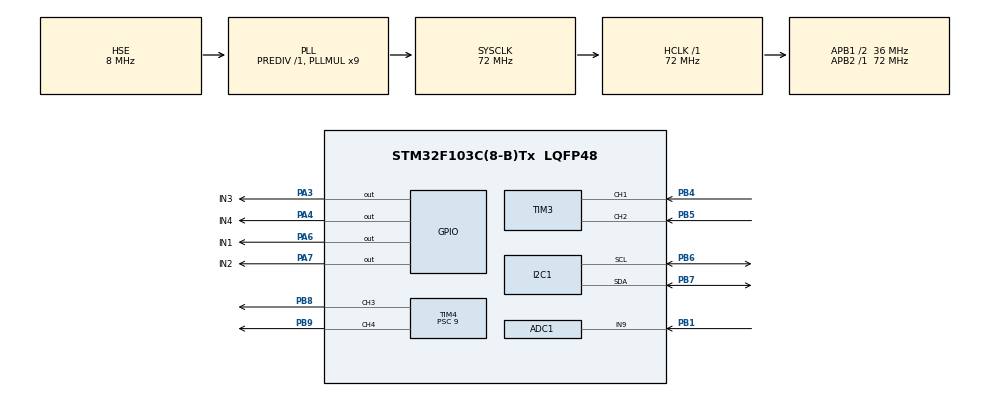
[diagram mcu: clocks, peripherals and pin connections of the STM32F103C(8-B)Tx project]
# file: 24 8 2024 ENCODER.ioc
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ADC1.Channel-0\#ChannelRegularConversion=ADC_CHANNEL_9
ADC1.NbrOfConversionFlag=1
ADC1.Rank-0\#ChannelRegularConversion=1
ADC1.SamplingTime-0\#ChannelRegularConversion=ADC_SAMPLETIME_1CYCLE_5
ADC1.master=1
Mcu.Family=STM32F1
Mcu.Name=STM32F103C(8-B)Tx
Mcu.Package=LQFP48
NVIC.PriorityGroup=NVIC_PRIORITYGROUP_4
NVIC.TIM2_IRQn=true\:0\:0\:false\:false\:true\:true\:true\:true
NVIC.TIM3_IRQn=true\:0\:0\:false\:false\:true\:true\:true\:true
PA13.Mode=Serial_Wire
PA13.Signal=SYS_JTMS-SWDIO
PA14.Mode=Serial_Wire
PA14.Signal=SYS_JTCK-SWCLK
PA3.GPIO_Label=IN3
PA3.Signal=GPIO_Output
PA4.GPIO_Label=IN4
PA4.Signal=GPIO_Output
PA6.GPIO_Label=IN1
PA6.Signal=GPIO_Output
PA7.GPIO_Label=IN2
PA7.Signal=GPIO_Output
PB1.Signal=ADCx_IN9
PB4.GPIO_PuPd=GPIO_PULLUP
PB4.Signal=S_TIM3_CH1
PB5.GPIO_PuPd=GPIO_PULLUP
PB5.Signal=S_TIM3_CH2
PB6.Mode=I2C
PB6.Signal=I2C1_SCL
PB7.Mode=I2C
PB7.Signal=I2C1_SDA
PB8.Signal=S_TIM4_CH3
PB9.Signal=S_TIM4_CH4
PD0-OSC_IN.Mode=HSE-External-Oscillator
PD0-OSC_IN.Signal=RCC_OSC_IN
PD1-OSC_OUT.Mode=HSE-External-Oscillator
PD1-OSC_OUT.Signal=RCC_OSC_OUT
ProjectManager.HeapSize=0x200
ProjectManager.StackSize=0x400
ProjectManager.TargetToolchain=MDK-ARM V5
RCC.ADCPresc=RCC_ADCPCLK2_DIV6
RCC.AHBFreq_Value=72000000
RCC.APB1CLKDivider=RCC_HCLK_DIV2
RCC.APB1Freq_Value=36000000
RCC.APB1TimFreq_Value=72000000
RCC.APB2Freq_Value=72000000
RCC.APB2TimFreq_Value=72000000
RCC.HCLKFreq_Value=72000000
RCC.PLLMUL=RCC_PLL_MUL9
RCC.PLLSourceVirtual=RCC_PLLSOURCE_HSE
RCC.SYSCLKFreq_VALUE=72000000
RCC.SYSCLKSource=RCC_SYSCLKSOURCE_PLLCLK
RCC.USBFreq_Value=72000000
SH.ADCx_IN9.0=ADC1_IN9,IN9
SH.S_TIM3_CH1.0=TIM3_CH1,Encoder_Interface
SH.S_TIM3_CH2.0=TIM3_CH2,Encoder_Interface
SH.S_TIM4_CH3.0=TIM4_CH3,PWM Generation3 CH3
SH.S_TIM4_CH4.0=TIM4_CH4,PWM Generation4 CH4
TIM2.Period=3999
TIM2.Prescaler=179
TIM3.EncoderMode=TIM_ENCODERMODE_TI12
TIM4.Channel-PWM\ Generation3\ CH3=TIM_CHANNEL_3
TIM4.Channel-PWM\ Generation4\ CH4=TIM_CHANNEL_4
TIM4.Period=1799
TIM4.Prescaler=9
VP_TIM2_VS_ClockSourceINT.Mode=Internal
board=custom

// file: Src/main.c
/* USER CODE BEGIN Header */
/**
  ******************************************************************************
  * @file           : main.c
  * @brief          : Main program body
  ******************************************************************************
  * @attention
  *
  * Copyright (c) 2024 STMicroelectronics.
  * All rights reserved.
  *
  * This software is licensed under terms that can be found in the LICENSE file
  * in the root directory of this software component.
  * If no LICENSE file comes with this software, it is provided AS-IS.
  *
  ******************************************************************************
  */
/* USER CODE END Header */
#include "main.h"

/* USER CODE BEGIN Includes */
#include "stdio.h"
#include "string.h"
#include "i2c-lcd.h"

/* USER CODE END Includes */

ADC_HandleTypeDef hadc1;

I2C_HandleTypeDef hi2c1;

TIM_HandleTypeDef htim2;
TIM_HandleTypeDef htim3;
TIM_HandleTypeDef htim4;

void SystemClock_Config(void);
static void MX_GPIO_Init(void);
static void MX_ADC1_Init(void);
static void MX_TIM2_Init(void);
static void MX_TIM4_Init(void);
static void MX_I2C1_Init(void);
static void MX_TIM3_Init(void);

/* USER CODE BEGIN 0 */
uint16_t	readPOT[1];
int processPOT;
int valuePOT;
int valuePWM;
int valuePWMnew;
int DIR=1;

void Forward(){
		HAL_GPIO_WritePin(IN1_GPIO_Port, IN1_Pin, 0);
		HAL_GPIO_WritePin(IN2_GPIO_Port, IN2_Pin, 1);
		HAL_GPIO_WritePin(IN3_GPIO_Port, IN3_Pin, 0);
		HAL_GPIO_WritePin(IN4_GPIO_Port, IN4_Pin, 1);
}
void Back(){
		HAL_GPIO_WritePin(IN1_GPIO_Port, IN1_Pin, 1);
		HAL_GPIO_WritePin(IN2_GPIO_Port, IN2_Pin, 0);
		HAL_GPIO_WritePin(IN3_GPIO_Port, IN3_Pin, 1);
		HAL_GPIO_WritePin(IN4_GPIO_Port, IN4_Pin, 0);
}
void Stop(){
		HAL_GPIO_WritePin(IN1_GPIO_Port, IN1_Pin, 0);
		HAL_GPIO_WritePin(IN2_GPIO_Port, IN2_Pin, 0);
		HAL_GPIO_WritePin(IN3_GPIO_Port, IN3_Pin, 0);
		HAL_GPIO_WritePin(IN4_GPIO_Port, IN4_Pin, 0);
}

void PWMMOTOR(){
	if(DIR > 0){
		__HAL_TIM_SetCompare(&htim4,TIM_CHANNEL_3, valuePWM);
		__HAL_TIM_SetCompare(&htim4,TIM_CHANNEL_4, valuePWM);
		Back();
	}
	if(DIR < 0){
		__HAL_TIM_SetCompare(&htim4,TIM_CHANNEL_3, valuePWM);
		__HAL_TIM_SetCompare(&htim4,TIM_CHANNEL_4, valuePWM);
		Forward();

	}
	if(valuePWM == 0){
		__HAL_TIM_SetCompare(&htim4,TIM_CHANNEL_3, 0);
		__HAL_TIM_SetCompare(&htim4,TIM_CHANNEL_4, 0);
		Stop();
	}
}

//volatile short eL;
//volatile short eR;
//void HAL_GPIO_EXTI_Callback(uint16_t GPIO_Pin) {
//	 if (GPIO_Pin == GPIO_PIN_4) {
//			if (HAL_GPIO_ReadPin(GPIOB, GPIO_PIN_5) == 0) {
//					eL++;
//			} else {
//					eL--;
//			}
//    }
//
//	 if (GPIO_Pin == GPIO_PIN_8) {
//			if (HAL_GPIO_ReadPin(GPIOA, GPIO_PIN_9) == 0) {
//					eR--;
//			} else {
//					eR++;
//			}
//    }
//}

volatile short encoder;

int taget=0;
int err=0;
int valueL=0;
int cnt=0;
int valueE=0;
int valueEXP=0;
float k=2.25;
int output=0;

void HAL_TIM_PeriodElapsedCallback(TIM_HandleTypeDef *htim){
		cnt= taget*936/360;
		encoder=__HAL_TIM_GetCounter(&htim3);
		err = cnt-encoder;
		output = k*err;
		valuePWM = output*1799/936;

		if(valuePWM >= 1799){
			valuePWM = 1799;
		}
		if(valuePWM <= -1799){
			valuePWM= -1799;
		}
//		HAL_ADC_Start_DMA(&hadc1,(uint32_t*)readPOT,1);
//		HAL_ADC_Stop_DMA(&hadc1);
//		processPOT = readPOT[0];

//		valuePOT = processPOT*999/4095;
//		valuePWM = valuePOT*2-999;

		if(valuePWM <0){
 			valuePWM = valuePWM*(-1);
			DIR = -1;
		}
		else if(valuePWM >0){
 			valuePWM = valuePWM*1;
			DIR = 1;
		}
		__HAL_TIM_SetCompare(&htim4,TIM_CHANNEL_3, valuePWM);
		PWMMOTOR();

}
void lcd(){
		lcd_clear();
		lcd_put_cur(0,0);
		lcd_send_string("Deg:");
		lcd_send_number((int)taget);

		lcd_put_cur(0,8);
		lcd_send_string("Err:");
		lcd_send_number((int)err);

		lcd_put_cur(1,0);
		lcd_send_string("Dir:");
		lcd_send_number((int)DIR);

		lcd_put_cur(1,8);
		lcd_send_string("Pwm:");
		lcd_send_number((int)valuePWM);
}

/* USER CODE END 0 */

int main(void)
{

  /* MCU Configuration--------------------------------------------------------*/

  /* Reset of all peripherals, Initializes the Flash interface and the Systick. */
  HAL_Init();

  /* Configure the system clock */
  SystemClock_Config();

  /* Initialize all configured peripherals */
  MX_GPIO_Init();
  MX_ADC1_Init();
  MX_TIM2_Init();
  MX_TIM4_Init();
  MX_I2C1_Init();
  MX_TIM3_Init();
  /* USER CODE BEGIN 2 */
	HAL_TIM_PWM_Start(&htim4,TIM_CHANNEL_3);
	HAL_TIM_PWM_Start(&htim4,TIM_CHANNEL_4);
	HAL_TIM_Encoder_Start(&htim3,TIM_CHANNEL_1);
	HAL_TIM_Encoder_Start(&htim3,TIM_CHANNEL_2);
//	HAL_TIM_Encoder_Start(&htim1,TIM_CHANNEL_1);
//	HAL_TIM_Encoder_Start(&htim1,TIM_CHANNEL_2);
	HAL_TIM_Base_Start_IT(&htim2);
	lcd_init();
	lcd_put_cur(0,3);
	lcd_send_string("DA2 - N2A");
	lcd_put_cur(1,3);
	lcd_send_string("DH CDT17A");
	HAL_Delay(1000);

  /* USER CODE END 2 */

  /* Infinite loop */
  while (1)
  {

    /* USER CODE BEGIN 3 */
		taget=0;
		lcd();
		HAL_Delay(1500);

		taget += 90;
		lcd();
		HAL_Delay(1500);
		taget += 90;
		lcd();
		HAL_Delay(1500);
		taget += 90;
		lcd();
		HAL_Delay(1500);
		taget += 90;
		lcd();
		HAL_Delay(1500);

		taget -= 90;
		lcd();
		HAL_Delay(1500);
		taget -= 90;
		lcd();
		HAL_Delay(1500);
		taget -= 90;
		lcd();
		HAL_Delay(1500);
		taget -= 90;
		lcd();

  }
  /* USER CODE END 3 */
}

void SystemClock_Config(void)
{
  RCC_OscInitTypeDef RCC_OscInitStruct = {0};
  RCC_ClkInitTypeDef RCC_ClkInitStruct = {0};
  RCC_PeriphCLKInitTypeDef PeriphClkInit = {0};

  /** Initializes the RCC Oscillators according to the specified parameters
  * in the RCC_OscInitTypeDef structure.
  */
  RCC_OscInitStruct.OscillatorType = RCC_OSCILLATORTYPE_HSE;
  RCC_OscInitStruct.HSEState = RCC_HSE_ON;
  RCC_OscInitStruct.HSEPredivValue = RCC_HSE_PREDIV_DIV1;
  RCC_OscInitStruct.HSIState = RCC_HSI_ON;
  RCC_OscInitStruct.PLL.PLLState = RCC_PLL_ON;
  RCC_OscInitStruct.PLL.PLLSource = RCC_PLLSOURCE_HSE;
  RCC_OscInitStruct.PLL.PLLMUL = RCC_PLL_MUL9;
  if (HAL_RCC_OscConfig(&RCC_OscInitStruct) != HAL_OK)
  {
    Error_Handler();
  }

  /** Initializes the CPU, AHB and APB buses clocks
  */
  RCC_ClkInitStruct.ClockType = RCC_CLOCKTYPE_HCLK|RCC_CLOCKTYPE_SYSCLK
                              |RCC_CLOCKTYPE_PCLK1|RCC_CLOCKTYPE_PCLK2;
  RCC_ClkInitStruct.SYSCLKSource = RCC_SYSCLKSOURCE_PLLCLK;
  RCC_ClkInitStruct.AHBCLKDivider = RCC_SYSCLK_DIV1;
  RCC_ClkInitStruct.APB1CLKDivider = RCC_HCLK_DIV2;
  RCC_ClkInitStruct.APB2CLKDivider = RCC_HCLK_DIV1;

  if (HAL_RCC_ClockConfig(&RCC_ClkInitStruct, FLASH_LATENCY_2) != HAL_OK)
  {
    Error_Handler();
  }
  PeriphClkInit.PeriphClockSelection = RCC_PERIPHCLK_ADC;
  PeriphClkInit.AdcClockSelection = RCC_ADCPCLK2_DIV6;
  if (HAL_RCCEx_PeriphCLKConfig(&PeriphClkInit) != HAL_OK)
  {
    Error_Handler();
  }
}

static void MX_ADC1_Init(void)
{

  ADC_ChannelConfTypeDef sConfig = {0};

  /** Common config
  */
  hadc1.Instance = ADC1;
  hadc1.Init.ScanConvMode = ADC_SCAN_DISABLE;
  hadc1.Init.ContinuousConvMode = DISABLE;
  hadc1.Init.DiscontinuousConvMode = DISABLE;
  hadc1.Init.ExternalTrigConv = ADC_SOFTWARE_START;
  hadc1.Init.DataAlign = ADC_DATAALIGN_RIGHT;
  hadc1.Init.NbrOfConversion = 1;
  if (HAL_ADC_Init(&hadc1) != HAL_OK)
  {
    Error_Handler();
  }

  /** Configure Regular Channel
  */
  sConfig.Channel = ADC_CHANNEL_9;
  sConfig.Rank = ADC_REGULAR_RANK_1;
  sConfig.SamplingTime = ADC_SAMPLETIME_1CYCLE_5;
  if (HAL_ADC_ConfigChannel(&hadc1, &sConfig) != HAL_OK)
  {
    Error_Handler();
  }

}

static void MX_I2C1_Init(void)
{

  hi2c1.Instance = I2C1;
  hi2c1.Init.ClockSpeed = 100000;
  hi2c1.Init.DutyCycle = I2C_DUTYCYCLE_2;
  hi2c1.Init.OwnAddress1 = 0;
  hi2c1.Init.AddressingMode = I2C_ADDRESSINGMODE_7BIT;
  hi2c1.Init.DualAddressMode = I2C_DUALADDRESS_DISABLE;
  hi2c1.Init.OwnAddress2 = 0;
  hi2c1.Init.GeneralCallMode = I2C_GENERALCALL_DISABLE;
  hi2c1.Init.NoStretchMode = I2C_NOSTRETCH_DISABLE;
  if (HAL_I2C_Init(&hi2c1) != HAL_OK)
  {
    Error_Handler();
  }

}

static void MX_TIM2_Init(void)
{

  TIM_ClockConfigTypeDef sClockSourceConfig = {0};
  TIM_MasterConfigTypeDef sMasterConfig = {0};

  htim2.Instance = TIM2;
  htim2.Init.Prescaler = 179;
  htim2.Init.CounterMode = TIM_COUNTERMODE_UP;
  htim2.Init.Period = 3999;
  htim2.Init.ClockDivision = TIM_CLOCKDIVISION_DIV1;
  htim2.Init.AutoReloadPreload = TIM_AUTORELOAD_PRELOAD_DISABLE;
  if (HAL_TIM_Base_Init(&htim2) != HAL_OK)
  {
    Error_Handler();
  }
  sClockSourceConfig.ClockSource = TIM_CLOCKSOURCE_INTERNAL;
  if (HAL_TIM_ConfigClockSource(&htim2, &sClockSourceConfig) != HAL_OK)
  {
    Error_Handler();
  }
  sMasterConfig.MasterOutputTrigger = TIM_TRGO_RESET;
  sMasterConfig.MasterSlaveMode = TIM_MASTERSLAVEMODE_DISABLE;
  if (HAL_TIMEx_MasterConfigSynchronization(&htim2, &sMasterConfig) != HAL_OK)
  {
    Error_Handler();
  }

}

static void MX_TIM3_Init(void)
{

  TIM_Encoder_InitTypeDef sConfig = {0};
  TIM_MasterConfigTypeDef sMasterConfig = {0};

  htim3.Instance = TIM3;
  htim3.Init.Prescaler = 0;
  htim3.Init.CounterMode = TIM_COUNTERMODE_UP;
  htim3.Init.Period = 65535;
  htim3.Init.ClockDivision = TIM_CLOCKDIVISION_DIV1;
  htim3.Init.AutoReloadPreload = TIM_AUTORELOAD_PRELOAD_DISABLE;
  sConfig.EncoderMode = TIM_ENCODERMODE_TI12;
  sConfig.IC1Polarity = TIM_ICPOLARITY_RISING;
  sConfig.IC1Selection = TIM_ICSELECTION_DIRECTTI;
  sConfig.IC1Prescaler = TIM_ICPSC_DIV1;
  sConfig.IC1Filter = 0;
  sConfig.IC2Polarity = TIM_ICPOLARITY_RISING;
  sConfig.IC2Selection = TIM_ICSELECTION_DIRECTTI;
  sConfig.IC2Prescaler = TIM_ICPSC_DIV1;
  sConfig.IC2Filter = 0;
  if (HAL_TIM_Encoder_Init(&htim3, &sConfig) != HAL_OK)
  {
    Error_Handler();
  }
  sMasterConfig.MasterOutputTrigger = TIM_TRGO_RESET;
  sMasterConfig.MasterSlaveMode = TIM_MASTERSLAVEMODE_DISABLE;
  if (HAL_TIMEx_MasterConfigSynchronization(&htim3, &sMasterConfig) != HAL_OK)
  {
    Error_Handler();
  }

}

static void MX_TIM4_Init(void)
{

  TIM_MasterConfigTypeDef sMasterConfig = {0};
  TIM_OC_InitTypeDef sConfigOC = {0};

  htim4.Instance = TIM4;
  htim4.Init.Prescaler = 9;
  htim4.Init.CounterMode = TIM_COUNTERMODE_UP;
  htim4.Init.Period = 1799;
  htim4.Init.ClockDivision = TIM_CLOCKDIVISION_DIV1;
  htim4.Init.AutoReloadPreload = TIM_AUTORELOAD_PRELOAD_DISABLE;
  if (HAL_TIM_PWM_Init(&htim4) != HAL_OK)
  {
    Error_Handler();
  }
  sMasterConfig.MasterOutputTrigger = TIM_TRGO_RESET;
  sMasterConfig.MasterSlaveMode = TIM_MASTERSLAVEMODE_DISABLE;
  if (HAL_TIMEx_MasterConfigSynchronization(&htim4, &sMasterConfig) != HAL_OK)
  {
    Error_Handler();
  }
  sConfigOC.OCMode = TIM_OCMODE_PWM1;
  sConfigOC.Pulse = 0;
  sConfigOC.OCPolarity = TIM_OCPOLARITY_HIGH;
  sConfigOC.OCFastMode = TIM_OCFAST_DISABLE;
  if (HAL_TIM_PWM_ConfigChannel(&htim4, &sConfigOC, TIM_CHANNEL_3) != HAL_OK)
  {
    Error_Handler();
  }
  if (HAL_TIM_PWM_ConfigChannel(&htim4, &sConfigOC, TIM_CHANNEL_4) != HAL_OK)
  {
    Error_Handler();
  }
  HAL_TIM_MspPostInit(&htim4);

}

static void MX_GPIO_Init(void)
{
  GPIO_InitTypeDef GPIO_InitStruct = {0};

  /* GPIO Ports Clock Enable */
  __HAL_RCC_GPIOD_CLK_ENABLE();
  __HAL_RCC_GPIOA_CLK_ENABLE();
  __HAL_RCC_GPIOB_CLK_ENABLE();

  /*Configure GPIO pin Output Level */
  HAL_GPIO_WritePin(GPIOA, IN3_Pin|IN4_Pin|IN1_Pin|IN2_Pin, GPIO_PIN_RESET);

  /*Configure GPIO pins : IN3_Pin IN4_Pin IN1_Pin IN2_Pin */
  GPIO_InitStruct.Pin = IN3_Pin|IN4_Pin|IN1_Pin|IN2_Pin;
  GPIO_InitStruct.Mode = GPIO_MODE_OUTPUT_PP;
  GPIO_InitStruct.Pull = GPIO_NOPULL;
  GPIO_InitStruct.Speed = GPIO_SPEED_FREQ_LOW;
  HAL_GPIO_Init(GPIOA, &GPIO_InitStruct);

}

void Error_Handler(void)
{
  __disable_irq();
  while (1)
  {
  }
}
